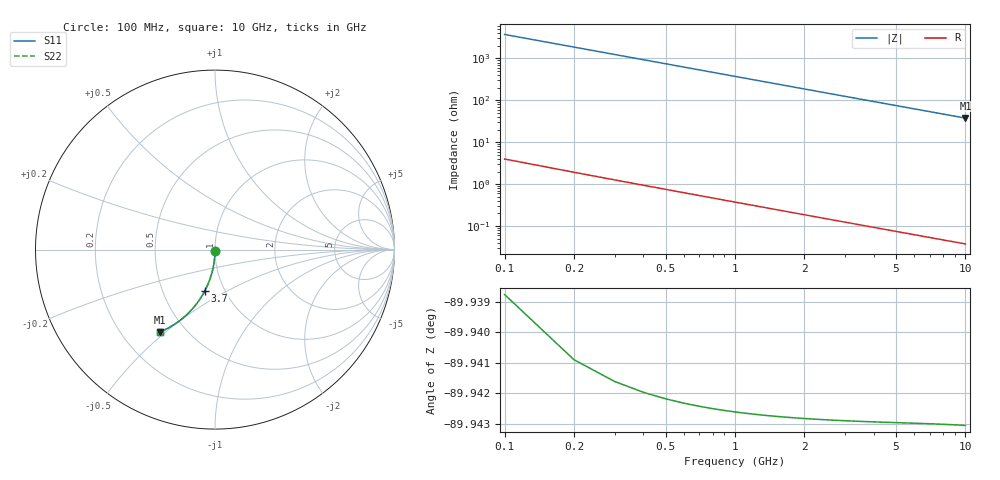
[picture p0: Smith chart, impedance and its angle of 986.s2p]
# Hz S RI R 50.00
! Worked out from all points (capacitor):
!   100 points, 100 MHz to 10 GHz, reference 50 ohm
!   read as one part in shunt: C = 426 fF near 100 MHz
!   lowest |Z| = 37.8 ohm at 10 GHz (marker M1)
!   S11 on the Smith chart (normalised r, x): 100 MHz: 1.00, -0.01; 3.7 GHz: 0.80, -0.40; 10 GHz: 0.36, -0.48
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1e8  -4.69e-05 -0.00668  0.9999 -0.00672  0.9999 -0.00672  -4.69e-05 -0.00668
2e8  -0.000188 -0.0134  0.9998 -0.0134  0.9998 -0.0134  -0.000188 -0.0134
3e8  -0.000419 -0.02  0.9996 -0.0201  0.9996 -0.0201  -0.000419 -0.02
4e8  -0.000739 -0.0267  0.9993 -0.0268  0.9993 -0.0268  -0.000739 -0.0267
5e8  -0.00115 -0.0334  0.9988 -0.0335  0.9988 -0.0335  -0.00115 -0.0334
6e8  -0.00165 -0.04  0.9983 -0.0402  0.9983 -0.0402  -0.00165 -0.04
7e8  -0.00223 -0.0466  0.9978 -0.0469  0.9978 -0.0469  -0.00223 -0.0466
8e8  -0.00291 -0.0533  0.9971 -0.0536  0.9971 -0.0536  -0.00291 -0.0533
9e8  -0.00367 -0.0599  0.9963 -0.0602  0.9963 -0.0602  -0.00367 -0.0599
1.1e9  -0.00546 -0.073  0.9945 -0.0734  0.9945 -0.0734  -0.00546 -0.073
1.4e9  -0.00879 -0.0926  0.9912 -0.0931  0.9912 -0.0931  -0.00879 -0.0926
1.8e9  -0.0144 -0.1184  0.9856 -0.119  0.9856 -0.119  -0.0144 -0.1184
2.1e9  -0.0195 -0.1373  0.9805 -0.1381  0.9805 -0.1381  -0.0195 -0.1373
2.5e9  -0.0273 -0.1621  0.9727 -0.163  0.9727 -0.163  -0.0273 -0.1621
2.9e9  -0.0364 -0.1862  0.9636 -0.1872  0.9636 -0.1872  -0.0364 -0.1862
3.4e9  -0.0492 -0.2152  0.9508 -0.2164  0.9508 -0.2164  -0.0492 -0.2152
3.7e9  -0.0577 -0.232  0.9423 -0.2333  0.9423 -0.2333  -0.0577 -0.232
4.4e9  -0.0795 -0.2692  0.9205 -0.2708  0.9205 -0.2708  -0.0795 -0.2692
5.1e9  -0.1037 -0.3035  0.8963 -0.3053  0.8963 -0.3053  -0.1037 -0.3035
6.7e9  -0.1658 -0.3702  0.8342 -0.3727  0.8342 -0.3727  -0.1658 -0.3702
8.4e9  -0.2373 -0.4234  0.7627 -0.4265  0.7627 -0.4265  -0.2373 -0.4234
1e10  -0.3052 -0.4582  0.6947 -0.4619  0.6947 -0.4619  -0.3052 -0.4582
